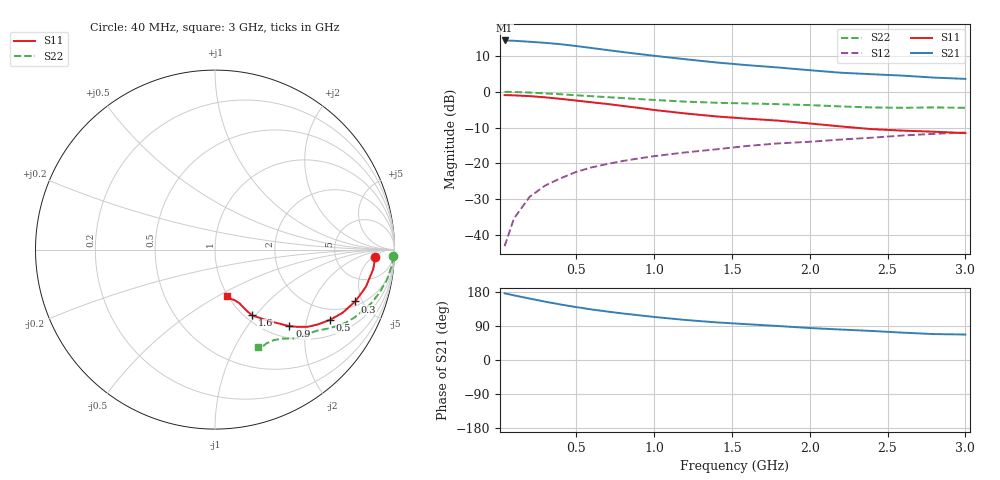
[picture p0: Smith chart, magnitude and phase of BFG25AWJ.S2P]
! Filename:  BFG25AWJ.S2P  Version:  4.0
! Philips part #: BFG25A/X  Date: Jun 1994
! Bias condition: Vce=3.0V, Ic=2.0mA
! IN LINE PINNING: same data as with cross emitter pinning.
#  MHz  S  MA  R  50
! Freq  S11  S21  S12  S22  !GUM [dB]
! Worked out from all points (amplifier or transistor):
!   21 points, 40 MHz to 3 GHz, reference 50 ohm
!   highest |S21| = 14.3 dB at 40 MHz (marker M1)
!   |S21| within 3 dB of that: start of sweep to 757.4 MHz
!   unconditionally stable (mu >= 1): nowhere
!   at 300 MHz: K = 0.23, MSG = 19.9 dB, |S12| = -26.2 dB
!   at 1 GHz: K = 0.61, MSG = 14.0 dB, |S12| = -18.0 dB
!   at 3 GHz: K = 0.96, MSG = 7.5 dB, |S12| = -11.4 dB
!   S11 on the Smith chart (normalised r, x): 40 MHz: 15, -6; 300 MHz: 2.33, -4.40; 500 MHz: 1.55, -2.78; 900 MHz: 1.23, -1.63; 1.6 GHz: 1.08, -0.96; 3 GHz: 0.99, -0.54
40  0.895 -2.7  5.175 175.9  0.007 88.5  0.995 -2.1
100  0.888 -7.1  5.126 170.6  0.017 85.4  0.99 -5.1
200  0.866 -13.9  4.967 162.2  0.034 81.3  0.972 -10.1
300  0.833 -20.3  4.795 153.9  0.049 77.6  0.947 -14.8
400  0.793 -26.4  4.586 146.5  0.062 74.6  0.92 -19.0
500  0.751 -31.4  4.328 139.6  0.076 72.1  0.89 -22.7
600  0.71 -35.9  4.06 133.3  0.088 70.4  0.864 -26.0
700  0.673 -39.7  3.801 127.9  0.098 68.5  0.838 -28.8
800  0.631 -43.0  3.565 122.7  0.108 67.8  0.813 -31.1
900  0.595 -45.8  3.355 118.2  0.117 66.4  0.789 -33.1
1000  0.555 -48.4  3.165 113.6  0.126 65.2  0.766 -35.1
1200  0.497 -53.0  2.833 105.7  0.142 63.2  0.726 -38.5
1400  0.451 -57.2  2.553 99.3  0.157 62.9  0.7 -42.0
1600  0.42 -60.6  2.34 94.4  0.175 61.9  0.685 -45.4
1800  0.394 -62.0  2.17 89.6  0.19 60.9  0.669 -47.7
2000  0.36 -63.7  1.99 84.4  0.2 60.0  0.649 -49.8
2200  0.327 -65.6  1.836 80.4  0.215 59.1  0.622 -52.8
2400  0.3 -69.2  1.749 76.6  0.228 58.0  0.602 -56.9
2600  0.286 -72.8  1.671 72.1  0.245 56.3  0.596 -61.1
2800  0.276 -75.1  1.57 68.4  0.258 55.8  0.602 -64.1
3000  0.264 -75.7  1.507 67.2  0.269 55.6  0.595 -66.4
